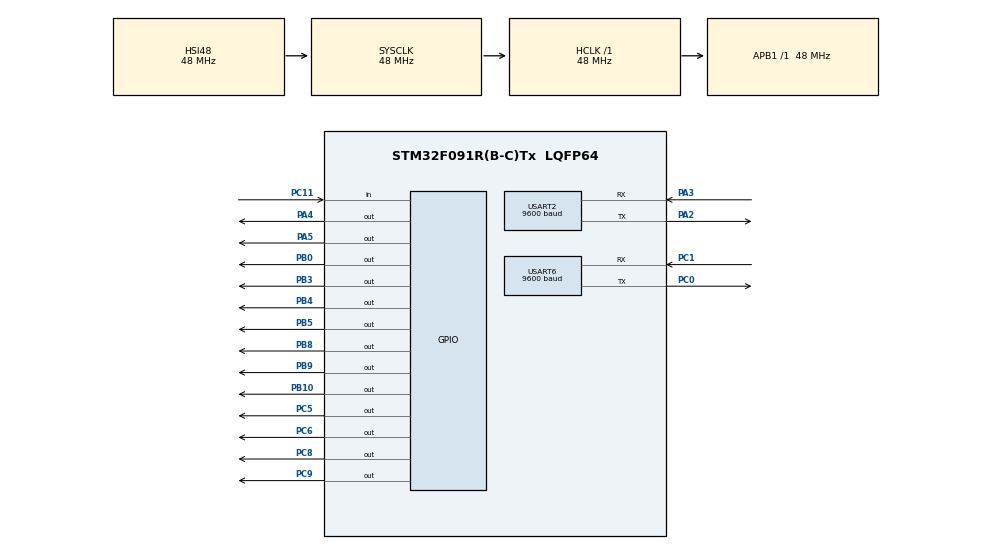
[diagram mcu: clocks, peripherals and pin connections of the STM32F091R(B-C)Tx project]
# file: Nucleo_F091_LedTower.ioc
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Dma.Request0=USART6_RX
Dma.Request1=USART6_TX
Dma.Request2=USART2_RX
Dma.Request3=USART2_TX
Dma.USART2_RX.2.Direction=DMA_PERIPH_TO_MEMORY
Dma.USART2_RX.2.Instance=DMA1_Channel3
Dma.USART2_RX.2.MemDataAlignment=DMA_MDATAALIGN_BYTE
Dma.USART2_RX.2.MemInc=DMA_MINC_ENABLE
Dma.USART2_RX.2.Mode=DMA_NORMAL
Dma.USART2_RX.2.PeriphDataAlignment=DMA_PDATAALIGN_BYTE
Dma.USART2_RX.2.PeriphInc=DMA_PINC_DISABLE
Dma.USART2_RX.2.Priority=DMA_PRIORITY_LOW
Dma.USART2_TX.3.Direction=DMA_MEMORY_TO_PERIPH
Dma.USART2_TX.3.Instance=DMA1_Channel4
Dma.USART2_TX.3.MemDataAlignment=DMA_MDATAALIGN_BYTE
Dma.USART2_TX.3.MemInc=DMA_MINC_ENABLE
Dma.USART2_TX.3.Mode=DMA_NORMAL
Dma.USART2_TX.3.PeriphDataAlignment=DMA_PDATAALIGN_BYTE
Dma.USART2_TX.3.PeriphInc=DMA_PINC_DISABLE
Dma.USART2_TX.3.Priority=DMA_PRIORITY_LOW
Dma.USART6_RX.0.Direction=DMA_PERIPH_TO_MEMORY
Dma.USART6_RX.0.Instance=DMA1_Channel1
Dma.USART6_RX.0.MemDataAlignment=DMA_MDATAALIGN_BYTE
Dma.USART6_RX.0.MemInc=DMA_MINC_ENABLE
Dma.USART6_RX.0.Mode=DMA_NORMAL
Dma.USART6_RX.0.PeriphDataAlignment=DMA_PDATAALIGN_BYTE
Dma.USART6_RX.0.PeriphInc=DMA_PINC_DISABLE
Dma.USART6_RX.0.Priority=DMA_PRIORITY_LOW
Dma.USART6_TX.1.Direction=DMA_MEMORY_TO_PERIPH
Dma.USART6_TX.1.Instance=DMA1_Channel2
Dma.USART6_TX.1.MemDataAlignment=DMA_MDATAALIGN_BYTE
Dma.USART6_TX.1.MemInc=DMA_MINC_ENABLE
Dma.USART6_TX.1.Mode=DMA_NORMAL
Dma.USART6_TX.1.PeriphDataAlignment=DMA_PDATAALIGN_BYTE
Dma.USART6_TX.1.PeriphInc=DMA_PINC_DISABLE
Dma.USART6_TX.1.Priority=DMA_PRIORITY_LOW
Mcu.Family=STM32F0
Mcu.Name=STM32F091R(B-C)Tx
Mcu.Package=LQFP64
NVIC.DMA1_Ch1_IRQn=true\:0\:0\:false\:false\:true\:false\:true\:true
NVIC.DMA1_Ch2_3_DMA2_Ch1_2_IRQn=true\:0\:0\:false\:false\:true\:false\:true\:true
NVIC.DMA1_Ch4_7_DMA2_Ch3_5_IRQn=true\:0\:0\:false\:false\:true\:false\:true\:true
NVIC.USART2_IRQn=true\:0\:0\:false\:false\:true\:true\:true\:true
NVIC.USART3_8_IRQn=true\:0\:0\:false\:false\:true\:true\:true\:true
PA2.GPIO_PuPd=GPIO_PULLUP
PA2.Mode=Asynchronous
PA2.Signal=USART2_TX
PA3.GPIO_PuPd=GPIO_PULLUP
PA3.Mode=Asynchronous
PA3.Signal=USART2_RX
PA4.GPIO_PuPd=GPIO_PULLUP
PA4.PinState=GPIO_PIN_RESET
PA4.Signal=GPIO_Output
PA5.GPIO_PuPd=GPIO_PULLUP
PA5.Signal=GPIO_Output
PB0.GPIO_PuPd=GPIO_PULLUP
PB0.Signal=GPIO_Output
PB10.GPIO_PuPd=GPIO_PULLUP
PB10.Signal=GPIO_Output
PB3.GPIO_PuPd=GPIO_PULLUP
PB3.Signal=GPIO_Output
PB4.GPIO_PuPd=GPIO_PULLUP
PB4.Signal=GPIO_Output
PB5.GPIO_PuPd=GPIO_PULLUP
PB5.Signal=GPIO_Output
PB8.GPIO_PuPd=GPIO_PULLUP
PB8.Signal=GPIO_Output
PB9.GPIO_PuPd=GPIO_PULLUP
PB9.Signal=GPIO_Output
PC0.GPIO_PuPd=GPIO_PULLUP
PC0.Mode=Asynchronous
PC0.Signal=USART6_TX
PC1.GPIO_PuPd=GPIO_PULLUP
PC1.Mode=Asynchronous
PC1.Signal=USART6_RX
PC11.GPIO_PuPd=GPIO_PULLUP
PC11.Signal=GPIO_Input
PC5.GPIO_PuPd=GPIO_PULLUP
PC5.Signal=GPIO_Output
PC6.GPIO_PuPd=GPIO_PULLUP
PC6.Signal=GPIO_Output
PC8.GPIO_PuPd=GPIO_PULLUP
PC8.Signal=GPIO_Output
PC9.GPIO_PuPd=GPIO_PULLUP
PC9.Signal=GPIO_Output
ProjectManager.HeapSize=0x200
ProjectManager.StackSize=0x400
ProjectManager.TargetToolchain=MDK-ARM V5.32
RCC.AHBFreq_Value=48000000
RCC.APB1Freq_Value=48000000
RCC.APB1TimFreq_Value=48000000
RCC.FLatency=FLASH_LATENCY_1
RCC.HCLKFreq_Value=48000000
RCC.SYSCLKFreq_VALUE=48000000
RCC.SYSCLKSource=RCC_SYSCLKSOURCE_HSI48
USART2.AutoBaudRateEnableParam=UART_ADVFEATURE_AUTOBAUDRATE_DISABLE
USART2.BaudRate=9600
USART2.DMADisableonRxErrorParam=ADVFEATURE_DMA_ENABLEONRXERROR
USART2.DataInvertParam=ADVFEATURE_DATAINV_DISABLE
USART2.MSBFirstParam=ADVFEATURE_MSBFIRST_DISABLE
USART2.Mode=MODE_TX_RX
USART2.OneBitSampling=UART_ONE_BIT_SAMPLE_DISABLE
USART2.OverSampling=UART_OVERSAMPLING_16
USART2.OverrunDisableParam=ADVFEATURE_OVERRUN_ENABLE
USART2.Parity=PARITY_NONE
USART2.RxPinLevelInvertParam=ADVFEATURE_RXINV_DISABLE
USART2.StopBits=STOPBITS_1
USART2.SwapParam=ADVFEATURE_SWAP_DISABLE
USART2.TxPinLevelInvertParam=ADVFEATURE_TXINV_DISABLE
USART2.VirtualMode-Asynchronous=VM_ASYNC
USART2.WordLength=WORDLENGTH_8B
USART6.BaudRate=9600
USART6.DMADisableonRxErrorParam=ADVFEATURE_DMA_ENABLEONRXERROR
USART6.DataInvertParam=ADVFEATURE_DATAINV_DISABLE
USART6.MSBFirstParam=ADVFEATURE_MSBFIRST_DISABLE
USART6.Mode=MODE_TX_RX
USART6.OneBitSampling=UART_ONE_BIT_SAMPLE_DISABLE
USART6.OverSampling=UART_OVERSAMPLING_16
USART6.OverrunDisableParam=ADVFEATURE_OVERRUN_ENABLE
USART6.Parity=PARITY_NONE
USART6.RxPinLevelInvertParam=ADVFEATURE_RXINV_DISABLE
USART6.StopBits=STOPBITS_1
USART6.SwapParam=ADVFEATURE_SWAP_DISABLE
USART6.TxPinLevelInvertParam=ADVFEATURE_TXINV_DISABLE
USART6.VirtualMode=VM_ASYNC
USART6.WordLength=WORDLENGTH_8B
board=custom

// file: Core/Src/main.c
/* USER CODE BEGIN Header */
/**
  ******************************************************************************
  * @file           : main.c
  * @brief          : Main program body
  ******************************************************************************
  * @attention
  *
  * Copyright (c) 2023 STMicroelectronics.
  * All rights reserved.
  *
  * This software is licensed under terms that can be found in the LICENSE file
  * in the root directory of this software component.
  * If no LICENSE file comes with this software, it is provided AS-IS.
  *
  ******************************************************************************
  */
/* USER CODE END Header */
#include "main.h"

/* USER CODE BEGIN PD */

	#define OFF			0
	#define ON			1

/* USER CODE END PD */

 UART_HandleTypeDef huart2;
UART_HandleTypeDef huart6;
DMA_HandleTypeDef hdma_usart2_rx;
DMA_HandleTypeDef hdma_usart2_tx;
DMA_HandleTypeDef hdma_usart6_rx;
DMA_HandleTypeDef hdma_usart6_tx;

/* USER CODE BEGIN PV */

	uint8_t		recv_dat[14];
	uint8_t		recv_flg;
	uint8_t		bz_flg;

	uint8_t		mode;

/* USER CODE END PV */

void SystemClock_Config(void);
static void MX_GPIO_Init(void);
static void MX_DMA_Init(void);
static void MX_USART2_UART_Init(void);
static void MX_USART6_UART_Init(void);

int main(void)
{

  /* MCU Configuration--------------------------------------------------------*/

  /* Reset of all peripherals, Initializes the Flash interface and the Systick. */
  HAL_Init();

  /* USER CODE BEGIN Init */

	mode = 0;
	bz_flg = OFF;

  /* USER CODE END Init */

  /* Configure the system clock */
  SystemClock_Config();

  /* Initialize all configured peripherals */
  MX_GPIO_Init();
  MX_DMA_Init();
  MX_USART2_UART_Init();
  MX_USART6_UART_Init();
  /* USER CODE BEGIN 2 */

	// Led Init
	HAL_GPIO_WritePin(GPIOC,GPIO_PIN_8,GPIO_PIN_RESET);			// Green Led-1 ON
	HAL_GPIO_WritePin(GPIOC,GPIO_PIN_6,GPIO_PIN_RESET);			// Green Led-2 ON
	HAL_GPIO_WritePin(GPIOC,GPIO_PIN_5,GPIO_PIN_RESET);			// Green Led-3 ON

	HAL_GPIO_WritePin(GPIOC,GPIO_PIN_9,GPIO_PIN_SET);				// Red Led-1 OFF
	HAL_GPIO_WritePin(GPIOB,GPIO_PIN_8,GPIO_PIN_SET);				// Red Led-2 OFF
	HAL_GPIO_WritePin(GPIOB,GPIO_PIN_9,GPIO_PIN_SET);				// Red Led-3 OFF

	HAL_UART_Receive_DMA(&huart2,recv_dat,7);								// Pelco Cmd

  /* USER CODE END 2 */

  /* Infinite loop */
  while (1)
  {

    /* USER CODE BEGIN 3 */

		if( HAL_GPIO_ReadPin(GPIOC,GPIO_PIN_11) == GPIO_PIN_RESET )
		{
			bz_flg = OFF;
		}

		if( bz_flg == ON )
		{
			HAL_GPIO_TogglePin(GPIOA,GPIO_PIN_4);										// Bz ON
		}
		else
		{
			HAL_GPIO_WritePin(GPIOA,GPIO_PIN_4,GPIO_PIN_RESET);			// Bz OFF
		}

		HAL_Delay(500);

  }
  /* USER CODE END 3 */
}

void SystemClock_Config(void)
{
  RCC_OscInitTypeDef RCC_OscInitStruct = {0};
  RCC_ClkInitTypeDef RCC_ClkInitStruct = {0};
  RCC_PeriphCLKInitTypeDef PeriphClkInit = {0};

  /** Initializes the RCC Oscillators according to the specified parameters
  * in the RCC_OscInitTypeDef structure.
  */
  RCC_OscInitStruct.OscillatorType = RCC_OSCILLATORTYPE_HSI48;
  RCC_OscInitStruct.HSI48State = RCC_HSI48_ON;
  RCC_OscInitStruct.PLL.PLLState = RCC_PLL_NONE;
  if (HAL_RCC_OscConfig(&RCC_OscInitStruct) != HAL_OK)
  {
    Error_Handler();
  }

  /** Initializes the CPU, AHB and APB buses clocks
  */
  RCC_ClkInitStruct.ClockType = RCC_CLOCKTYPE_HCLK|RCC_CLOCKTYPE_SYSCLK
                              |RCC_CLOCKTYPE_PCLK1;
  RCC_ClkInitStruct.SYSCLKSource = RCC_SYSCLKSOURCE_HSI48;
  RCC_ClkInitStruct.AHBCLKDivider = RCC_SYSCLK_DIV1;
  RCC_ClkInitStruct.APB1CLKDivider = RCC_HCLK_DIV1;

  if (HAL_RCC_ClockConfig(&RCC_ClkInitStruct, FLASH_LATENCY_1) != HAL_OK)
  {
    Error_Handler();
  }
  PeriphClkInit.PeriphClockSelection = RCC_PERIPHCLK_USART2;
  PeriphClkInit.Usart2ClockSelection = RCC_USART2CLKSOURCE_PCLK1;
  if (HAL_RCCEx_PeriphCLKConfig(&PeriphClkInit) != HAL_OK)
  {
    Error_Handler();
  }
}

static void MX_USART2_UART_Init(void)
{

  huart2.Instance = USART2;
  huart2.Init.BaudRate = 9600;
  huart2.Init.WordLength = UART_WORDLENGTH_8B;
  huart2.Init.StopBits = UART_STOPBITS_1;
  huart2.Init.Parity = UART_PARITY_NONE;
  huart2.Init.Mode = UART_MODE_TX_RX;
  huart2.Init.HwFlowCtl = UART_HWCONTROL_NONE;
  huart2.Init.OverSampling = UART_OVERSAMPLING_16;
  huart2.Init.OneBitSampling = UART_ONE_BIT_SAMPLE_DISABLE;
  huart2.AdvancedInit.AdvFeatureInit = UART_ADVFEATURE_NO_INIT;
  if (HAL_UART_Init(&huart2) != HAL_OK)
  {
    Error_Handler();
  }

}

static void MX_USART6_UART_Init(void)
{

  huart6.Instance = USART6;
  huart6.Init.BaudRate = 9600;
  huart6.Init.WordLength = UART_WORDLENGTH_8B;
  huart6.Init.StopBits = UART_STOPBITS_1;
  huart6.Init.Parity = UART_PARITY_NONE;
  huart6.Init.Mode = UART_MODE_TX_RX;
  huart6.Init.HwFlowCtl = UART_HWCONTROL_NONE;
  huart6.Init.OverSampling = UART_OVERSAMPLING_16;
  huart6.Init.OneBitSampling = UART_ONE_BIT_SAMPLE_DISABLE;
  huart6.AdvancedInit.AdvFeatureInit = UART_ADVFEATURE_NO_INIT;
  if (HAL_UART_Init(&huart6) != HAL_OK)
  {
    Error_Handler();
  }

}

static void MX_DMA_Init(void)
{

  /* DMA controller clock enable */
  __HAL_RCC_DMA1_CLK_ENABLE();

  /* DMA interrupt init */
  /* DMA1_Ch1_IRQn interrupt configuration */
  HAL_NVIC_SetPriority(DMA1_Ch1_IRQn, 0, 0);
  HAL_NVIC_EnableIRQ(DMA1_Ch1_IRQn);
  /* DMA1_Ch2_3_DMA2_Ch1_2_IRQn interrupt configuration */
  HAL_NVIC_SetPriority(DMA1_Ch2_3_DMA2_Ch1_2_IRQn, 0, 0);
  HAL_NVIC_EnableIRQ(DMA1_Ch2_3_DMA2_Ch1_2_IRQn);
  /* DMA1_Ch4_7_DMA2_Ch3_5_IRQn interrupt configuration */
  HAL_NVIC_SetPriority(DMA1_Ch4_7_DMA2_Ch3_5_IRQn, 0, 0);
  HAL_NVIC_EnableIRQ(DMA1_Ch4_7_DMA2_Ch3_5_IRQn);

}

static void MX_GPIO_Init(void)
{
  GPIO_InitTypeDef GPIO_InitStruct = {0};

  /* GPIO Ports Clock Enable */
  __HAL_RCC_GPIOC_CLK_ENABLE();
  __HAL_RCC_GPIOA_CLK_ENABLE();
  __HAL_RCC_GPIOB_CLK_ENABLE();

  /*Configure GPIO pin Output Level */
  HAL_GPIO_WritePin(GPIOA, GPIO_PIN_4|GPIO_PIN_5, GPIO_PIN_RESET);

  /*Configure GPIO pin Output Level */
  HAL_GPIO_WritePin(GPIOC, GPIO_PIN_5|GPIO_PIN_6|GPIO_PIN_8|GPIO_PIN_9, GPIO_PIN_RESET);

  /*Configure GPIO pin Output Level */
  HAL_GPIO_WritePin(GPIOB, GPIO_PIN_0|GPIO_PIN_10|GPIO_PIN_3|GPIO_PIN_4
                          |GPIO_PIN_5|GPIO_PIN_8|GPIO_PIN_9, GPIO_PIN_RESET);

  /*Configure GPIO pins : PA4 PA5 */
  GPIO_InitStruct.Pin = GPIO_PIN_4|GPIO_PIN_5;
  GPIO_InitStruct.Mode = GPIO_MODE_OUTPUT_PP;
  GPIO_InitStruct.Pull = GPIO_PULLUP;
  GPIO_InitStruct.Speed = GPIO_SPEED_FREQ_LOW;
  HAL_GPIO_Init(GPIOA, &GPIO_InitStruct);

  /*Configure GPIO pins : PC5 PC6 PC8 PC9 */
  GPIO_InitStruct.Pin = GPIO_PIN_5|GPIO_PIN_6|GPIO_PIN_8|GPIO_PIN_9;
  GPIO_InitStruct.Mode = GPIO_MODE_OUTPUT_PP;
  GPIO_InitStruct.Pull = GPIO_PULLUP;
  GPIO_InitStruct.Speed = GPIO_SPEED_FREQ_LOW;
  HAL_GPIO_Init(GPIOC, &GPIO_InitStruct);

  /*Configure GPIO pins : PB0 PB10 PB3 PB4
                           PB5 PB8 PB9 */
  GPIO_InitStruct.Pin = GPIO_PIN_0|GPIO_PIN_10|GPIO_PIN_3|GPIO_PIN_4
                          |GPIO_PIN_5|GPIO_PIN_8|GPIO_PIN_9;
  GPIO_InitStruct.Mode = GPIO_MODE_OUTPUT_PP;
  GPIO_InitStruct.Pull = GPIO_PULLUP;
  GPIO_InitStruct.Speed = GPIO_SPEED_FREQ_LOW;
  HAL_GPIO_Init(GPIOB, &GPIO_InitStruct);

  /*Configure GPIO pin : PC11 */
  GPIO_InitStruct.Pin = GPIO_PIN_11;
  GPIO_InitStruct.Mode = GPIO_MODE_INPUT;
  GPIO_InitStruct.Pull = GPIO_PULLUP;
  HAL_GPIO_Init(GPIOC, &GPIO_InitStruct);

}

/* USER CODE BEGIN 4 */

void HAL_UART_RxCpltCallback(UART_HandleTypeDef *huart)
{
	recv_flg = ON;
}

void Main_1ms(void)
{
	if( recv_flg == ON )
	{
		recv_flg = OFF;

		HAL_UART_Transmit_DMA(&huart2,recv_dat,2);

		switch(recv_dat[1])
		{
			case 0x30:
			case 0x31:
			case 0x32:
			case 0x33:
			case 0x34:
			case 0x35:
			case 0x36:
			case 0x37:
			case 0x38:
			case 0x39:
				HAL_GPIO_TogglePin(GPIOA, GPIO_PIN_5);
				mode = recv_dat[1] - 0x30;																	//
				break;
			default:
				mode = 99;
				break;
		}

		if( recv_dat[2] & 0x01 )
		{
			bz_flg = ON;
		}
		else
		{
			bz_flg = OFF;
		}

		switch(mode)
		{
			case 0x00:
				HAL_GPIO_WritePin(GPIOC,GPIO_PIN_8,GPIO_PIN_RESET);			// Green Led-1 ON
				HAL_GPIO_WritePin(GPIOC,GPIO_PIN_6,GPIO_PIN_RESET);			// Green Led-2 ON
				HAL_GPIO_WritePin(GPIOC,GPIO_PIN_5,GPIO_PIN_RESET);			// Green Led-3 ON

				HAL_GPIO_WritePin(GPIOC,GPIO_PIN_9,GPIO_PIN_SET);				// Red Led-1 OFF
				HAL_GPIO_WritePin(GPIOB,GPIO_PIN_8,GPIO_PIN_SET);				// Red Led-2 OFF
				HAL_GPIO_WritePin(GPIOB,GPIO_PIN_9,GPIO_PIN_SET);				// Red Led-3 OFF
				break;
			case 0x01:
				HAL_GPIO_WritePin(GPIOC,GPIO_PIN_8,GPIO_PIN_SET);				// Green Led-1 OFF
				HAL_GPIO_WritePin(GPIOC,GPIO_PIN_6,GPIO_PIN_RESET);			// Green Led-2 ON
				HAL_GPIO_WritePin(GPIOC,GPIO_PIN_5,GPIO_PIN_RESET);			// Green Led-3 ON

				HAL_GPIO_WritePin(GPIOC,GPIO_PIN_9,GPIO_PIN_RESET);			// Red Led-1 ON
				HAL_GPIO_WritePin(GPIOB,GPIO_PIN_8,GPIO_PIN_SET);				// Red Led-2 OFF
				HAL_GPIO_WritePin(GPIOB,GPIO_PIN_9,GPIO_PIN_SET);				// Red Led-3 OFF
				break;
			case 0x02:
				HAL_GPIO_WritePin(GPIOC,GPIO_PIN_8,GPIO_PIN_RESET);			// Green Led-1 ON
				HAL_GPIO_WritePin(GPIOC,GPIO_PIN_6,GPIO_PIN_SET);				// Green Led-2 OFF
				HAL_GPIO_WritePin(GPIOC,GPIO_PIN_5,GPIO_PIN_RESET);			// Green Led-3 ON

				HAL_GPIO_WritePin(GPIOC,GPIO_PIN_9,GPIO_PIN_SET);				// Red Led-1 OFF
				HAL_GPIO_WritePin(GPIOB,GPIO_PIN_8,GPIO_PIN_RESET);			// Red Led-2 ON
				HAL_GPIO_WritePin(GPIOB,GPIO_PIN_9,GPIO_PIN_SET);				// Red Led-3 OFF
				break;
			case 0x03:
				HAL_GPIO_WritePin(GPIOC,GPIO_PIN_8,GPIO_PIN_SET);				// Green Led-1 OFF
				HAL_GPIO_WritePin(GPIOC,GPIO_PIN_6,GPIO_PIN_SET);				// Green Led-2 OFF
				HAL_GPIO_WritePin(GPIOC,GPIO_PIN_5,GPIO_PIN_RESET);			// Green Led-3 ON

				HAL_GPIO_WritePin(GPIOC,GPIO_PIN_9,GPIO_PIN_RESET);			// Red Led-1 ON
				HAL_GPIO_WritePin(GPIOB,GPIO_PIN_8,GPIO_PIN_RESET);			// Red Led-2 ON
				HAL_GPIO_WritePin(GPIOB,GPIO_PIN_9,GPIO_PIN_SET);				// Red Led-3 OFF
				break;
			case 0x04:
				HAL_GPIO_WritePin(GPIOC,GPIO_PIN_8,GPIO_PIN_RESET);			// Green Led-1 ON
				HAL_GPIO_WritePin(GPIOC,GPIO_PIN_6,GPIO_PIN_RESET);			// Green Led-2 ON
				HAL_GPIO_WritePin(GPIOC,GPIO_PIN_5,GPIO_PIN_SET);				// Green Led-3 OFF

				HAL_GPIO_WritePin(GPIOC,GPIO_PIN_9,GPIO_PIN_SET);				// Red Led-1 OFF
				HAL_GPIO_WritePin(GPIOB,GPIO_PIN_8,GPIO_PIN_SET);				// Red Led-2 OFF
				HAL_GPIO_WritePin(GPIOB,GPIO_PIN_9,GPIO_PIN_RESET);			// Red Led-3 ON
				break;
			case 0x05:
				HAL_GPIO_WritePin(GPIOC,GPIO_PIN_8,GPIO_PIN_SET);				// Green Led-1 OFF
				HAL_GPIO_WritePin(GPIOC,GPIO_PIN_6,GPIO_PIN_RESET);			// Green Led-2 ON
				HAL_GPIO_WritePin(GPIOC,GPIO_PIN_5,GPIO_PIN_SET);				// Green Led-3 OFF

				HAL_GPIO_WritePin(GPIOC,GPIO_PIN_9,GPIO_PIN_RESET);			// Red Led-1 ON
				HAL_GPIO_WritePin(GPIOB,GPIO_PIN_8,GPIO_PIN_SET);				// Red Led-2 OFF
				HAL_GPIO_WritePin(GPIOB,GPIO_PIN_9,GPIO_PIN_RESET);			// Red Led-3 ON
				break;
			case 0x06:
				HAL_GPIO_WritePin(GPIOC,GPIO_PIN_8,GPIO_PIN_RESET);			// Green Led-1 ON
				HAL_GPIO_WritePin(GPIOC,GPIO_PIN_6,GPIO_PIN_SET);				// Green Led-2 OFF
				HAL_GPIO_WritePin(GPIOC,GPIO_PIN_5,GPIO_PIN_SET);				// Green Led-3 OFF

				HAL_GPIO_WritePin(GPIOC,GPIO_PIN_9,GPIO_PIN_SET);				// Red Led-1 OFF
				HAL_GPIO_WritePin(GPIOB,GPIO_PIN_8,GPIO_PIN_RESET);			// Red Led-2 ON
				HAL_GPIO_WritePin(GPIOB,GPIO_PIN_9,GPIO_PIN_RESET);			// Red Led-3 ON
				break;
			case 0x07:
				HAL_GPIO_WritePin(GPIOC,GPIO_PIN_8,GPIO_PIN_SET);				// Green Led-1 OFF
				HAL_GPIO_WritePin(GPIOC,GPIO_PIN_6,GPIO_PIN_SET);				// Green Led-2 OFF
				HAL_GPIO_WritePin(GPIOC,GPIO_PIN_5,GPIO_PIN_SET);				// Green Led-3 OFF

				HAL_GPIO_WritePin(GPIOC,GPIO_PIN_9,GPIO_PIN_RESET);			// Red Led-1 ON
				HAL_GPIO_WritePin(GPIOB,GPIO_PIN_8,GPIO_PIN_RESET);			// Red Led-2 ON
				HAL_GPIO_WritePin(GPIOB,GPIO_PIN_9,GPIO_PIN_RESET);			// Red Led-3 ON
				break;

			case 0x08:
				HAL_GPIO_WritePin(GPIOA,GPIO_PIN_4,GPIO_PIN_RESET);			// Red Led-1 ON
				break;
			case 0x09:
				break;
			default:
				break;
		}

		HAL_UART_Receive_DMA(&huart2,recv_dat,7);									//
	}
}

/* USER CODE END 4 */

void Error_Handler(void)
{
  __disable_irq();
  while (1)
  {
  }
}
